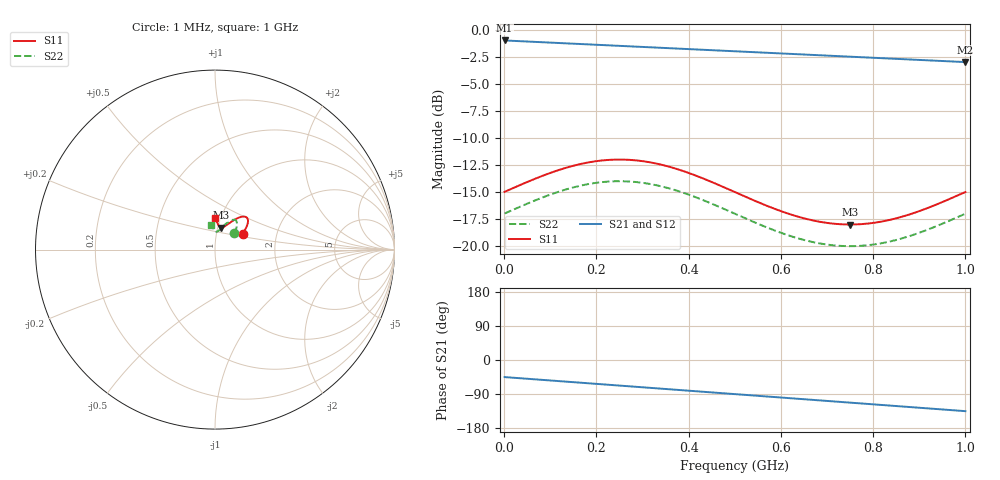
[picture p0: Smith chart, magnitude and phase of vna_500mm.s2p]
! Synthetic S2P fixture: vna_500mm.s2p
! Generated for testing purposes
# MHZ S DB R 50
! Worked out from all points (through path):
!   201 points, 1 MHz to 1 GHz, reference 50 ohm
!   highest |S21| = -1.00 dB at 1 MHz (marker M1); lowest = -3.0 dB at 1 GHz (marker M2)
!   lowest |S11| = -18.0 dB at 750.2 MHz (marker M3), VSWR 1.29, Z = 51.8 + j12.8 ohm
!   |S11| at or under -10 dB: start of sweep to end of sweep
!   |S22| runs from -20.0 to -14.0 dB; largest |S21 - S12| = 0
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1  -14.98 30.1  -1.00 -45.1  -1.00 -45.1  -16.98 40.1
50.95  -14.06 33.1  -1.10 -49.6  -1.10 -49.6  -16.06 43.1
95.905  -13.30 35.8  -1.19 -53.6  -1.19 -53.6  -15.30 45.8
135.865  -12.74 38.2  -1.27 -57.2  -1.27 -57.2  -14.74 48.2
170.83  -12.36 40.2  -1.34 -60.4  -1.34 -60.4  -14.36 50.2
210.79  -12.09 42.6  -1.42 -64.0  -1.42 -64.0  -14.09 52.6
250.75  -12.00 45.0  -1.50 -67.6  -1.50 -67.6  -14.00 55.0
290.71  -12.10 47.4  -1.58 -71.2  -1.58 -71.2  -14.10 57.4
335.665  -12.42 50.1  -1.67 -75.2  -1.67 -75.2  -14.42 60.1
370.63  -12.82 52.2  -1.74 -78.4  -1.74 -78.4  -14.82 62.2
405.595  -13.32 54.3  -1.81 -81.5  -1.81 -81.5  -15.32 64.3
500.5  -15.01 60.0  -2.00 -90.0  -2.00 -90.0  -17.01 70.0
595.405  -16.69 65.7  -2.19 -98.6  -2.19 -98.6  -18.69 75.7
635.365  -17.25 68.1  -2.27 -102.2  -2.27 -102.2  -19.25 78.1
670.33  -17.63 70.2  -2.34 -105.3  -2.34 -105.3  -19.63 80.2
710.29  -17.91 72.6  -2.42 -108.9  -2.42 -108.9  -19.91 82.6
750.25  -18.00 75.0  -2.50 -112.5  -2.50 -112.5  -20.00 85.0
790.21  -17.90 77.4  -2.58 -116.1  -2.58 -116.1  -19.90 87.4
835.165  -17.58 80.1  -2.67 -120.2  -2.67 -120.2  -19.58 90.1
870.13  -17.19 82.2  -2.74 -123.3  -2.74 -123.3  -19.19 92.2
905.095  -16.68 84.3  -2.81 -126.5  -2.81 -126.5  -18.68 94.3
1000  -15.00 90.0  -3.00 -135.0  -3.00 -135.0  -17.00 100.0
